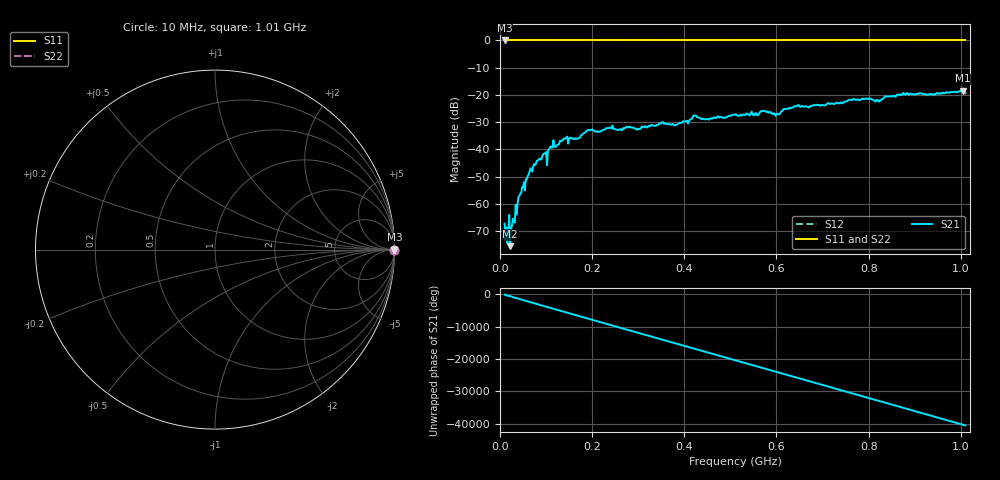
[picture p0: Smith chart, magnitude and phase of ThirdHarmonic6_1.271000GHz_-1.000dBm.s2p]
! 8/16/2025 1:45:19 PM
! C:\ANRITSUVNA\TEMP\TEMP.S2P
! CHANNEL.1
! TR.MEASUREMENT
! RAW.DATA
! RF.CORRECTION.OFF
! AVERAGING.OFF
! IF.BANDWIDTH: 5KHZ
! SWEEPTYPE:  FREQ.SWEEP(Linear)
! Reference Plane Port Info
! PORT:  PORT1  PORT2
! DISTANCE:  0  m  0  m
! TIME:  0  s  0  s
! PHASE.OFFSET:  0  deg.  0  deg.
! LOSS:  0  dB  0  dB
! REF.LOSS:  0  dB  0  dB
! REF.FREQ:  0  Hz  0  Hz
! Power Info
! POWER:  -20  dBm  -20  dBm
! EFF.POWER:  -20  dBm  -20  dBm
! SOURCE.ATTEN:  0  dB  0  dB
! TEST.ATTEN:  0  dB  0  dB
# GHZ S RI R 50.0
! FREQ.GHZ  S11RE  S11IM  S21RE  S21IM  S12RE  S12IM  S22RE  S22IM
!; PortSelection: Port_12
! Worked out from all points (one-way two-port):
!   501 points, 10 MHz to 1.01 GHz, reference 50 ohm
!   highest |S21| = -18.44 dB at 1.004 GHz (marker M1); lowest = -75.5 dB at 22 MHz (marker M2)
!   lowest |S11| = 0.0 dB at 10 MHz (marker M3)
!   |S11| at or under -10 dB: nowhere
!   |S22| runs from 0.0 to 0.0 dB; largest |S21 - S12| = 1.1
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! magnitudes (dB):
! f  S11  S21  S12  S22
! 10 MHz  0.0  -67.3  0.0  0.0
! 14 MHz  0.0  -68.6  0.0  0.0
! 22 MHz  0.0  -75.5  0.0  0.0
! 26 MHz  0.0  -68.0  0.0  0.0
! 44 MHz  0.0  -56.3  0.0  0.0
! 76 MHz  0.0  -45.8  0.0  0.0
! 112 MHz  0.0  -39.3  0.0  0.0
! 178 MHz  0.0  -34.6  0.0  0.0
! 196 MHz  0.0  -33.0  0.0  0.0
! 300 MHz  0.0  -32.4  0.0  0.0
! 344 MHz  0.0  -30.9  0.0  0.0
! 382 MHz  0.0  -31.0  0.0  0.0
! 422 MHz  0.0  -27.6  0.0  0.0
! 450 MHz  0.0  -28.8  0.0  0.0
! 510 MHz  0.0  -27.3  0.0  0.0
! 572 MHz  0.0  -25.9  0.0  0.0
! 602 MHz  0.0  -26.9  0.0  0.0
! 644 MHz  0.0  -24.1  0.0  0.0
! 678 MHz  0.0  -23.9  0.0  0.0
! 844 MHz  0.0  -20.5  0.0  0.0
! 1.004 GHz  0.0  -18.4  0.0  0.0
! 1.01 GHz  0.0  -19.4  0.0  0.0
